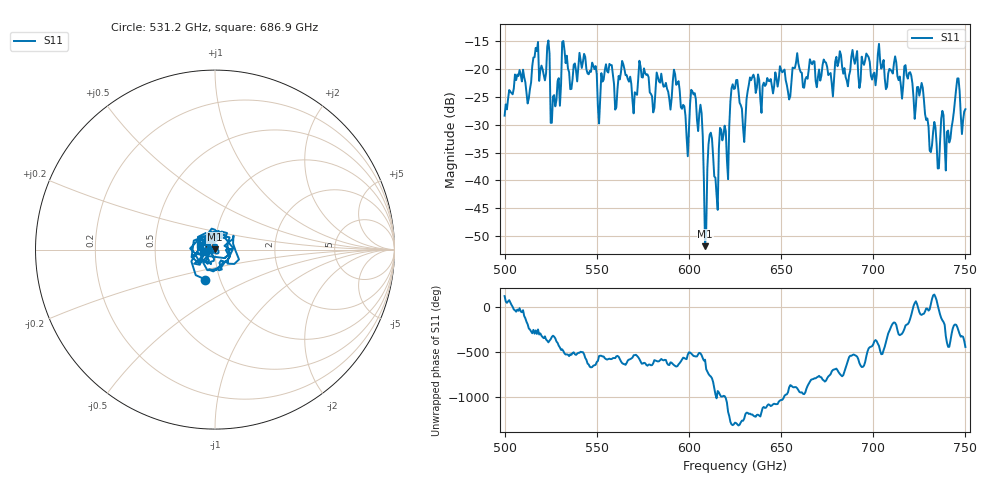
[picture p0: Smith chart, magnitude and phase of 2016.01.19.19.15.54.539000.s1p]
!Created with skrf (http://scikit-rf.org).
# GHz S RI R 50.0
!freq ReS11 ImS11
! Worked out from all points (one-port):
!   401 points, 500 GHz to 750 GHz, reference 50 ohm
!   lowest |S11| = -51.8 dB at 608.8 GHz (marker M1), VSWR 1.01, Z = 49.8 + j0.177 ohm
!   |S11| at or under -10 dB: start of sweep to end of sweep
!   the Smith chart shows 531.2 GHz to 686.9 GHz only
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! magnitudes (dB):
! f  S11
! 500 GHz  -28.4
! 506.9 GHz  -21.0
! 513.1 GHz  -25.3
! 516.9 GHz  -16.2
! 523.1 GHz  -16.0
! 526.2 GHz  -24.9
! 531.2 GHz  -15.1
! 548.8 GHz  -20.0
! 551.9 GHz  -25.2
! 562.5 GHz  -21.9
! 570.6 GHz  -24.2
! 593.8 GHz  -22.6
! 598.8 GHz  -32.3
! 602.5 GHz  -24.6
! 606.2 GHz  -26.4
! 608.8 GHz  -51.8
! 611.2 GHz  -31.8
! 615 GHz  -42.6
! 625 GHz  -23.5
! 629.4 GHz  -30.5
! 634.4 GHz  -21.4
! 656.2 GHz  -19.7
! 687.5 GHz  -20.3
! 718.8 GHz  -21.7
! 735 GHz  -37.9
! 740.6 GHz  -31.0
! 745.6 GHz  -21.7
! 750 GHz  -27.2
